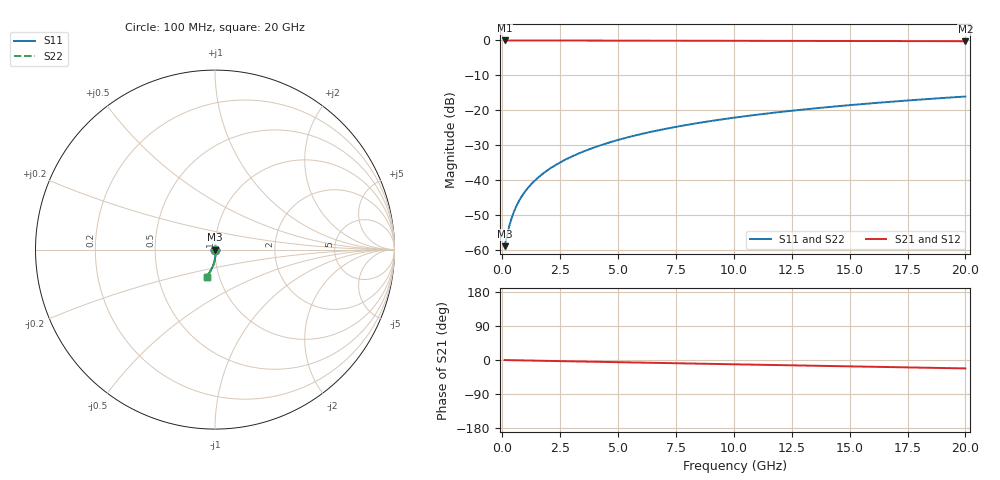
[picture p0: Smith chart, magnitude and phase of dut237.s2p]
! Touchstone file exported from HFSS 2026.1.0
!  File:  C:/ffzhzh/LocalFiles/Ansys_Project_Files/temp_train_BSMRDL_237_1782988352_41620.aedt
!  Generated:  06:33:37 PM Jul  2, 2026
!  Design:  BSMRDL
!  Project:  temp_train_BSMRDL_237_1782988352_41620
! Variables:
!  h_bsmrdl = 5.52um
!  h_ox = 20um
!  h_rdl = 5um
!  h_sub = 80um
!  h_tmrdl = 5um
!  h_tsv = 80um
!  h_via = 3um
!  l_bsmrdl = 356.39um
!  l_sub = 756.39um
!  l_tmrdl = 200um
!  m_sub = 200um
!  pitch = 30.54um
!  r_tsv = 6um
!  s_tmrdl = 10um
!  w_bsmrdl = 28.47um
!  w_sub = 500um
!  w_tmrdl = 12um
!  x_tsv_center1 = 206um
!  x_tsv_center2 = 590.86um
!  x_tsv_center3 = 802.86um
!  x_tsv_center4 = 1187.72um
!  x_tsv_center5 = 1399.72um
!  x_tsv_center6 = 1784.58um
# GHz S MA R 50.000000
! Terminal data exported
! Port[1] = BSM_RDL1_1_T1
! Port[2] = BSM_RDL1_1_T2
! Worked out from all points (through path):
!   200 points, 100 MHz to 20 GHz, reference 50 ohm
!   highest |S21| = -0.01 dB at 100 MHz (marker M1); lowest = -0.2 dB at 20 GHz (marker M2)
!   group delay of S21, straight-line fit = 3.07 ps
!   lowest |S11| = -58.9 dB at 100 MHz (marker M3), VSWR 1.00, Z = 50.1 - j0.0288 ohm
!   |S11| at or under -10 dB: start of sweep to end of sweep
!   |S22| runs from -58.9 to -16.1 dB; largest |S21 - S12| = 6.4e-15
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0.1  0.001134 -14.7  0.9989 -0.1  0.9989 -0.1  0.001134 -14.7
! Gamma 0 0 0 0
! Port Impedance 50 0 50 0
0.2  0.0016 -29.7  0.9986 -0.3  0.9986 -0.3  0.001599 -29.7
0.3  0.002195 -41.8  0.9983 -0.4  0.9983 -0.4  0.002195 -41.8
0.4  0.002843 -50.5  0.9982 -0.5  0.9982 -0.5  0.002843 -50.5
0.5  0.003514 -56.8  0.998 -0.6  0.998 -0.6  0.003515 -56.8
0.6  0.004197 -61.4  0.9979 -0.7  0.9979 -0.7  0.004197 -61.4
0.8  0.005581 -67.7  0.9978 -1.0  0.9978 -1.0  0.005582 -67.7
1.1  0.007687 -73.1  0.9975 -1.3  0.9975 -1.3  0.007688 -73.1
1.5  0.01054 -77.0  0.9972 -1.8  0.9972 -1.8  0.01054 -77.0
1.8  0.01272 -78.8  0.997 -2.1  0.997 -2.1  0.01272 -78.8
2.1  0.01493 -80.2  0.9967 -2.5  0.9967 -2.5  0.01493 -80.2
2.7  0.01945 -82.2  0.9961 -3.2  0.9961 -3.2  0.01945 -82.2
3.5  0.02564 -84.1  0.9952 -4.1  0.9952 -4.1  0.02565 -84.1
4.2  0.03118 -85.5  0.9944 -4.9  0.9944 -4.9  0.03118 -85.5
5  0.0376 -87.0  0.9935 -5.8  0.9935 -5.8  0.03761 -87.0
5.9  0.0449 -88.6  0.9926 -6.8  0.9926 -6.8  0.0449 -88.6
6.8  0.05222 -90.1  0.9916 -7.8  0.9916 -7.8  0.05223 -90.1
8.3  0.06446 -92.4  0.9899 -9.5  0.9899 -9.5  0.06446 -92.4
10.1  0.0791 -95.0  0.9879 -11.5  0.9879 -11.5  0.07911 -95.0
13.4  0.1057 -99.4  0.9837 -15.1  0.9837 -15.1  0.1057 -99.4
16.7  0.1319 -103.5  0.979 -18.7  0.979 -18.7  0.1319 -103.5
20  0.1574 -107.5  0.9738 -22.2  0.9738 -22.2  0.1574 -107.4
